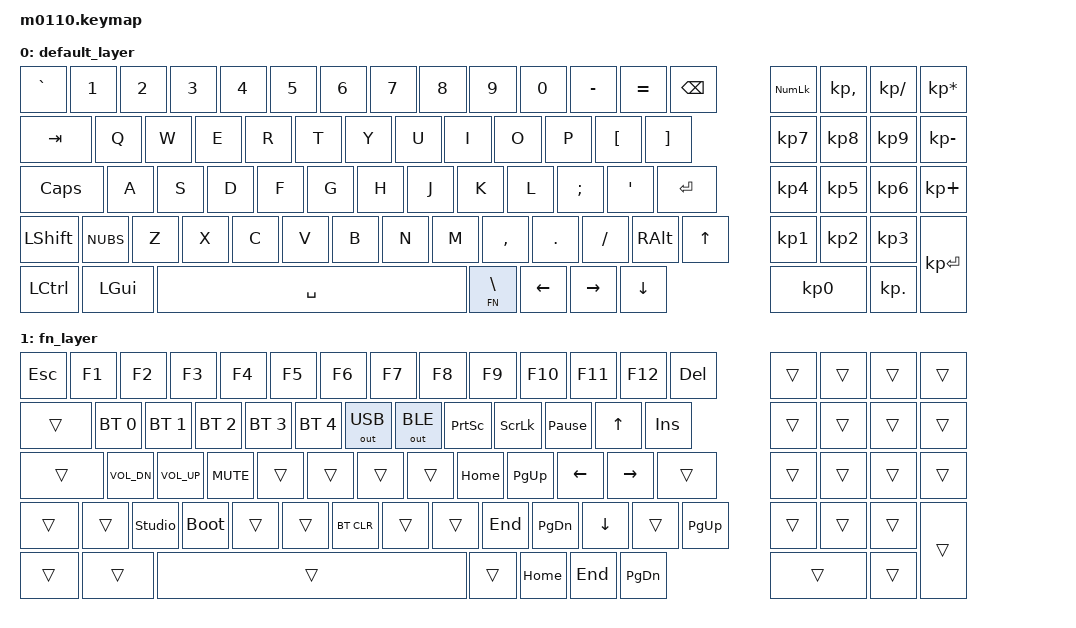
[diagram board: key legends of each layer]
/*
 * Apple M0110/M0110A keyboard keymap for ZMK
 *
 * This keymap uses a matrix transform that maps 79 physical keys
 * to their positions in the M0110A scancode matrix (14x8).
 *
 * Physical layout (M0110A):
 * +---+---+---+---+---+---+---+---+---+---+---+---+---+-------+  +---+---+---+---+
 * | ` | 1 | 2 | 3 | 4 | 5 | 6 | 7 | 8 | 9 | 0 | - | = |  bksp |  |clr| = | / | * |
 * +---+---+---+---+---+---+---+---+---+---+---+---+---+-------+  +---+---+---+---+
 * | tab | q | w | e | r | t | y | u | i | o | p | [ | ] |     |  | 7 | 8 | 9 | - |
 * +-----+---+---+---+---+---+---+---+---+---+---+---+---+     |  +---+---+---+---+
 * |  caps | a | s | d | f | g | h | j | k | l | ; | ' | return|  | 4 | 5 | 6 | + |
 * +-------+---+---+---+---+---+---+---+---+---+---+---+-------+  +---+---+---+---+
 * |shift|iso| z | x | c | v | b | n | m | , | . | / |shift| up|  | 1 | 2 | 3 |   |
 * +-----+---+---+---+---+---+---+---+---+---+---+---+-----+---+  +---+---+---+   |
 * | opt | cmd |           space           | \ | lft |rgt | dn |  |   0   | . |ent|
 * +-----+-----+---------------------------+---+-----+----+----+  +-------+---+---+
 */

#include <behaviors.dtsi>
#include <dt-bindings/zmk/keys.h>
#include <dt-bindings/zmk/bt.h>
#include <dt-bindings/zmk/outputs.h>

#define DEFAULT 0
#define FN      1

/ {
    keymap {
        compatible = "zmk,keymap";

        default_layer {
            bindings = <
                /* Row 0: Number row + Numpad top */
                &kp GRAVE  &kp N1     &kp N2     &kp N3     &kp N4     &kp N5     &kp N6     &kp N7     &kp N8     &kp N9     &kp N0     &kp MINUS  &kp EQUAL  &kp BSPC     &kp KP_NUM &kp KP_COMMA &kp KP_SLASH &kp KP_MULTIPLY

                /* Row 1: QWERTY + Numpad row 2 */
                &kp TAB    &kp Q      &kp W      &kp E      &kp R      &kp T      &kp Y      &kp U      &kp I      &kp O      &kp P      &kp LBKT   &kp RBKT                &kp KP_N7  &kp KP_N8  &kp KP_N9  &kp KP_MINUS

                /* Row 2: Home row + Numpad row 3 */
                &kp CAPS   &kp A      &kp S      &kp D      &kp F      &kp G      &kp H      &kp J      &kp K      &kp L      &kp SEMI   &kp SQT    &kp RET                 &kp KP_N4  &kp KP_N5  &kp KP_N6  &kp KP_PLUS

                /* Row 3: Shift row + Numpad row 4 */
                &kp LSHFT  &kp NUBS   &kp Z      &kp X      &kp C      &kp V      &kp B      &kp N      &kp M      &kp COMMA  &kp DOT    &kp FSLH   &kp RALT   &kp UP       &kp KP_N1  &kp KP_N2  &kp KP_N3

                /* Row 4: Bottom row + Numpad row 5 */
                &kp LCTRL  &kp LGUI   &kp SPACE                                                          &lt FN BSLH &kp LEFT  &kp RIGHT  &kp DOWN                            &kp KP_N0  &kp KP_DOT &kp KP_ENTER
            >;
        };

        fn_layer {
            bindings = <
                /* Row 0: F-keys + Numpad top */
                &kp ESC    &kp F1     &kp F2     &kp F3     &kp F4     &kp F5     &kp F6     &kp F7     &kp F8     &kp F9     &kp F10    &kp F11    &kp F12    &kp DEL      &trans     &trans     &trans     &trans

                /* Row 1: BT profiles + Numpad row 2 */
                &trans     &bt BT_SEL 0 &bt BT_SEL 1 &bt BT_SEL 2 &bt BT_SEL 3 &bt BT_SEL 4 &out OUT_USB &out OUT_BLE &kp PSCRN  &kp SLCK   &kp PAUSE_BREAK &kp UP  &kp INS                 &trans     &trans     &trans     &trans

                /* Row 2: Media/Nav + Numpad row 3 */
                &trans     &kp C_VOL_DN &kp C_VOL_UP &kp C_MUTE &trans  &trans     &trans     &trans     &kp HOME   &kp PG_UP  &kp LEFT   &kp RIGHT  &trans                  &trans     &trans     &trans     &trans

                /* Row 3: Shift row + Numpad row 4 */
                &trans     &trans     &studio_unlock &bootloader &trans  &trans     &bt BT_CLR &trans     &trans     &kp END    &kp PG_DN  &kp DOWN   &trans     &kp PG_UP    &trans     &trans     &trans

                /* Row 4: Bottom row + Numpad row 5 */
                &trans     &trans     &trans                                                            &trans     &kp HOME   &kp END    &kp PG_DN                            &trans     &trans     &trans
            >;
        };
    };
};
